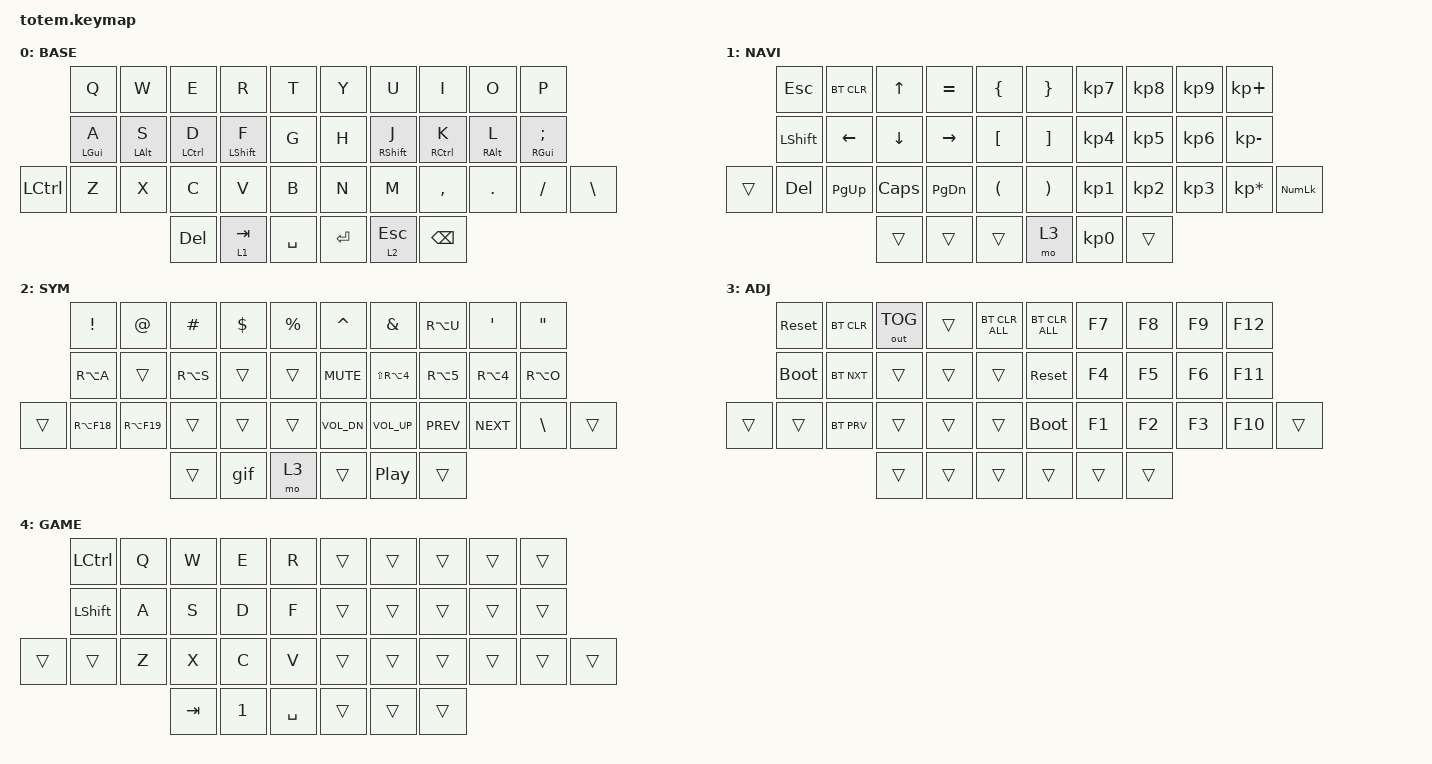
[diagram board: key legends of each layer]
//
//                                                        ▀▀▀▀▀     ▀▀▀▀▀          ▀▀█▀▀
//                                                        ▄▀▀▀▄  ▄  ▄▀▀▀▄  ▄  ▄▀▀▀▄  █  ▄▀▀▀▄
//                                                        █   █  █  █   █  █  █   █  █  █   █
//                                                         ▀▀▀   █   ▀▀▀   █   ▀▀▀   ▀   ▀▀▀
//                                                               █      ▄▄▄█▄▄▄    █   █  
//                                                               ▀      █  █  █     █▄█
//                                                             ▀▀▀▀▀    █  █  █      ▀
//                                                                      ▀  ▀  ▀
//
// ▄▄▄▄▄▄▄▄▄▄▄▄▄▄▄▄▄▄▄▄▄▄▄▄▄▄▄▄▄▄▄▄▄▄▄▄▄▄▄▄▄▄▄▄▄▄▄▄▄▄▄▄▄▄▄▄▄▄▄▄▄▄▄▄▄▄▄▄▄▄▄▄▄▄▄▄▄▄▄▄▄▄▄▄▄▄▄▄▄▄▄▄▄▄▄▄▄▄▄▄▄▄▄▄▄▄▄▄▄▄▄▄▄▄▄▄▄▄▄▄▄▄▄▄▄▄▄▄▄▄▄▄▄▄▄▄▄▄▄▄▄▄▄▄▄▄▄▄▄

#include <behaviors.dtsi>
#include <dt-bindings/zmk/bt.h>
#include <dt-bindings/zmk/keys.h>
#include <dt-bindings/zmk/outputs.h>

#define BASE 0
#define NAV  1
#define SYM  2
#define ADJ  3
#define TVP1 4
#define TVP2 5

&mt {
    quick-tap-ms = <100>;
    global-quick-tap;
    flavor = "tap-preferred";
    tapping-term-ms = <170>;
};

/ {
    combos {
        compatible = "zmk,combos";

        combo_esc {
            timeout-ms = <50>;
            key-positions = <0 1>;
            bindings = <&kp ESC>;
        };

        gaming {
            bindings = <&tog 4>;
            key-positions = <11 12 13>;
        };

        three {
            bindings = <&kp NUMBER_3>;
            key-positions = <33 10>;
            layers = <4>;
        };

        two {
            bindings = <&kp NUMBER_2>;
            key-positions = <33 0>;
            layers = <4>;
        };

        four {
            bindings = <&kp NUMBER_4>;
            key-positions = <33 21>;
            layers = <4>;
        };

        ddd {
            bindings = <&tog 3>;
            key-positions = <12 13 24>;
        };

        clrall {
            bindings = <&bt BT_CLR_ALL>;
            key-positions = <27 28 29>;
        };

        clrall2 {
            bindings = <&bt BT_CLR_ALL>;
            key-positions = <22 23 24>;
        };
    };

    macros {
        gif: gif {
            label = "giphy";
            compatible = "zmk,behavior-macro";
            #binding-cells = <0>;
            bindings =
                <&macro_press>,
                <&kp LSHFT>,
                <&macro_tap>,
                <&kp N2>,
                <&macro_release>,
                <&kp LSHFT>,
                <&macro_tap>,
                <&kp G &kp I &kp F>;
        };
    };

    keymap {
        compatible = "zmk,keymap";

        // ▄▄▄▄▄▄▄▄▄▄▄▄▄▄▄▄▄▄▄▄▄▄▄▄▄▄▄▄▄▄▄▄▄▄▄▄▄▄▄▄▄▄▄▄▄▄▄▄▄▄▄▄▄▄▄▄▄▄▄▄▄▄▄▄▄▄▄▄▄▄▄▄▄▄▄▄▄▄▄▄▄▄▄▄▄▄▄▄▄▄▄▄▄▄▄▄▄▄▄▄▄▄▄▄▄▄▄▄▄▄▄▄▄▄▄▄▄▄▄▄▄▄▄▄▄▄▄▄▄▄▄▄▄▄▄▄▄▄▄▄▄▄▄▄▄▄▄▄▄

        base_layer {
            // ┏━━━━━━━━━━━━━━━━━━━━━━━━━━━━━━━━━━━━━━━┓

            label = "BASE";

            // ┗━━━━━━━━━━━━━━━━━━━━━━━━━━━━━━━━━━━━━━━┛
            //             ┏━━━━━━━━━━━┳━━━━━━━━━━━┳━━━━━━━━━━━┳━━━━━━━━━━━┳━━━━━━━━━━━┓   ┏━━━━━━━━━━━┳━━━━━━━━━━━┳━━━━━━━━━━━┳━━━━━━━━━━━┳━━━━━━━━━━━┓
            //             ┃     Q     ┃     W     ┃     F     ┃     P     ┃     G     ┃   ┃     J     ┃     L     ┃     U     ┃     Y     ┃     ;     ┃
            //             ┣━━━━━━━━━━━╋━━━━━━━━━━━╋━━━━━━━━━━━╋━━━━━━━━━━━╋━━━━━━━━━━━┫   ┣━━━━━━━━━━━╋━━━━━━━━━━━╋━━━━━━━━━━━╋━━━━━━━━━━━╋━━━━━━━━━━━┫
            //             ┃     A     ┃     R     ┃     S     ┃     T     ┃     D     ┃   ┃     H     ┃     N     ┃     E     ┃     I     ┃     O     ┃
            // ┏━━━━━━━━━━━╋━━━━━━━━━━━╋━━━━━━━━━━━╋━━━━━━━━━━━╋━━━━━━━━━━━╋━━━━━━━━━━━┫   ┣━━━━━━━━━━━╋━━━━━━━━━━━╋━━━━━━━━━━━╋━━━━━━━━━━━╋━━━━━━━━━━━╋━━━━━━━━━━━┓
            // ┃     Q     ┃     Z     ┃     X     ┃     C     ┃     V     ┃     B     ┃   ┃     K     ┃     M     ┃     ,     ┃     .     ┃     /     ┃     \     ┃
            // ┗━━━━━━━━━━━┻━━━━━━━━━━━┻━━━━━━━━━━━╋━━━━━━━━━━━╋━━━━━━━━━━━╋━━━━━━━━━━━┫   ┣━━━━━━━━━━━╋━━━━━━━━━━━╋━━━━━━━━━━━╋━━━━━━━━━━━┻━━━━━━━━━━━┻━━━━━━━━━━━┛
            //                                     ┃    DEL    ┃    TAB    ┃    SPC    ┃   ┃   ENTER   ┃           ┃   BSPC    ┃
            //                                     ┗━━━━━━━━━━━┻━━━━━━━━━━━┻━━━━━━━━━━━┛   ┗━━━━━━━━━━━┻━━━━━━━━━━━┻━━━━━━━━━━━┛

            bindings = <
           &kp Q       &kp W       &kp E        &kp R        &kp T        &kp Y    &kp U        &kp I        &kp O       &kp P
           &mt LGUI A  &mt LALT S  &mt LCTRL D  &mt LSHFT F  &kp G        &kp H    &mt RSHFT J  &mt RCTRL K  &mt RALT L  &mt RGUI SEMICOLON
&kp LCTRL  &kp Z       &kp X       &kp C        &kp V        &kp B        &kp N    &kp M        &kp COMMA    &kp DOT     &kp FSLH            &kp BSLH
                                   &kp DEL      &lt 1 TAB    &kp SPACE    &kp RET  &lt 2 ESC    &kp BSPC
            >;
        };

        // ▄▄▄▄▄▄▄▄▄▄▄▄▄▄▄▄▄▄▄▄▄▄▄▄▄▄▄▄▄▄▄▄▄▄▄▄▄▄▄▄▄▄▄▄▄▄▄▄▄▄▄▄▄▄▄▄▄▄▄▄▄▄▄▄▄▄▄▄▄▄▄▄▄▄▄▄▄▄▄▄▄▄▄▄▄▄▄▄▄▄▄▄▄▄▄▄▄▄▄▄▄▄▄▄▄▄▄▄▄▄▄▄▄▄▄▄▄▄▄▄▄▄▄▄▄▄▄▄▄▄▄▄▄▄▄▄▄▄▄▄▄▄▄▄▄▄▄▄▄

        nav_layer {
            // ┏━━━━━━━━━━━━━━━━━━━━━━━━━━━━━━━━━━━━━━━┓

            label = "NAVI";

            // ┗━━━━━━━━━━━━━━━━━━━━━━━━━━━━━━━━━━━━━━━┛
            //             ┏━━━━━━━━━━━┳━━━━━━━━━━━┳━━━━━━━━━━━┳━━━━━━━━━━━┳━━━━━━━━━━━┓   ┏━━━━━━━━━━━┳━━━━━━━━━━━┳━━━━━━━━━━━┳━━━━━━━━━━━┳━━━━━━━━━━━┓
            //             ┃           ┃           ┃     UP    ┃           ┃     {     ┃   ┃     }     ┃     7     ┃     8     ┃     9     ┃     +     ┃
            //             ┣━━━━━━━━━━━╋━━━━━━━━━━━╋━━━━━━━━━━━╋━━━━━━━━━━━╋━━━━━━━━━━━┫   ┣━━━━━━━━━━━╋━━━━━━━━━━━╋━━━━━━━━━━━╋━━━━━━━━━━━╋━━━━━━━━━━━┫
            //             ┃   SHIFT   ┃   LEFT    ┃    DOWN   ┃   RIGHT   ┃     [     ┃   ┃     ]     ┃     4     ┃     5     ┃     6     ┃     -     ┃
            // ┏━━━━━━━━━━━╋━━━━━━━━━━━╋━━━━━━━━━━━╋━━━━━━━━━━━╋━━━━━━━━━━━╋━━━━━━━━━━━┫   ┣━━━━━━━━━━━╋━━━━━━━━━━━╋━━━━━━━━━━━╋━━━━━━━━━━━╋━━━━━━━━━━━╋━━━━━━━━━━━┓
            // ┃           ┃           ┃   P UP    ┃  C LOCK   ┃  P DOWN   ┃     (     ┃   ┃     )     ┃     1     ┃     2     ┃     3     ┃     *     ┃           ┃
            // ┗━━━━━━━━━━━┻━━━━━━━━━━━┻━━━━━━━━━━━╋━━━━━━━━━━━╋━━━━━━━━━━━╋━━━━━━━━━━━┫   ┣━━━━━━━━━━━╋━━━━━━━━━━━╋━━━━━━━━━━━╋━━━━━━━━━━━┻━━━━━━━━━━━┻━━━━━━━━━━━┛
            //                                     ┃           ┃    TAB    ┃    SPC    ┃   ┃    DEL    ┃     0     ┃           ┃
            //                                     ┗━━━━━━━━━━━┻━━━━━━━━━━━┻━━━━━━━━━━━┛   ┗━━━━━━━━━━━┻━━━━━━━━━━━┻━━━━━━━━━━━┛

            bindings = <
        &kp ESC    &bt BT_CLR  &kp UP    &kp EQUAL  &kp LBRC    &kp RBRC  &kp KP_N7  &kp KP_N8  &kp KP_N9  &kp KP_PLUS
        &kp LSHFT  &kp LEFT    &kp DOWN  &kp RIGHT  &kp LBKT    &kp RBKT  &kp KP_N4  &kp KP_N5  &kp KP_N6  &kp KP_MINUS
&trans  &kp DEL    &kp PG_UP   &kp CAPS  &kp PG_DN  &kp LPAR    &kp RPAR  &kp KP_N1  &kp KP_N2  &kp KP_N3  &kp KP_MULTIPLY  &kp KP_NUMLOCK
                               &trans    &trans     &trans      &mo 3     &kp KP_N0  &trans
            >;
        };

        // ▄▄▄▄▄▄▄▄▄▄▄▄▄▄▄▄▄▄▄▄▄▄▄▄▄▄▄▄▄▄▄▄▄▄▄▄▄▄▄▄▄▄▄▄▄▄▄▄▄▄▄▄▄▄▄▄▄▄▄▄▄▄▄▄▄▄▄▄▄▄▄▄▄▄▄▄▄▄▄▄▄▄▄▄▄▄▄▄▄▄▄▄▄▄▄▄▄▄▄▄▄▄▄▄▄▄▄▄▄▄▄▄▄▄▄▄▄▄▄▄▄▄▄▄▄▄▄▄▄▄▄▄▄▄▄▄▄▄▄▄▄▄▄▄▄▄▄▄▄

        sim_layer {
            // ┏━━━━━━━━━━━━━━━━━━━━━━━━━━━━━━━━━━━━━━━┓

            label = "SYM";

            // ┗━━━━━━━━━━━━━━━━━━━━━━━━━━━━━━━━━━━━━━━┛
            //             ┏━━━━━━━━━━━┳━━━━━━━━━━━┳━━━━━━━━━━━┳━━━━━━━━━━━┳━━━━━━━━━━━┓   ┏━━━━━━━━━━━┳━━━━━━━━━━━┳━━━━━━━━━━━┳━━━━━━━━━━━┳━━━━━━━━━━━┓
            //             ┃     !     ┃     @     ┃     #     ┃     $     ┃     %     ┃   ┃     ˆ     ┃     &     ┃     Ü     ┃     '     ┃     "     ┃
            //             ┣━━━━━━━━━━━╋━━━━━━━━━━━╋━━━━━━━━━━━╋━━━━━━━━━━━╋━━━━━━━━━━━┫   ┣━━━━━━━━━━━╋━━━━━━━━━━━╋━━━━━━━━━━━╋━━━━━━━━━━━╋━━━━━━━━━━━┫
            //             ┃     Ä     ┃           ┃    SZ     ┃           ┃           ┃   ┃   MUTE    ┃   YEN     ┃   EURO    ┃  POUND    ┃     Ö     ┃
            // ┏━━━━━━━━━━━╋━━━━━━━━━━━╋━━━━━━━━━━━╋━━━━━━━━━━━╋━━━━━━━━━━━╋━━━━━━━━━━━┫   ┣━━━━━━━━━━━╋━━━━━━━━━━━╋━━━━━━━━━━━╋━━━━━━━━━━━╋━━━━━━━━━━━╋━━━━━━━━━━━┓
            // ┃           ┃  EMAIL1   ┃  EMAIL2   ┃           ┃           ┃           ┃   ┃   VOL-    ┃   VOL+    ┃   LAST    ┃   NEXT    ┃     \     ┃           ┃
            // ┗━━━━━━━━━━━┻━━━━━━━━━━━┻━━━━━━━━━━━╋━━━━━━━━━━━╋━━━━━━━━━━━╋━━━━━━━━━━━┫   ┣━━━━━━━━━━━╋━━━━━━━━━━━╋━━━━━━━━━━━╋━━━━━━━━━━━┻━━━━━━━━━━━┻━━━━━━━━━━━┛
            //                                     ┃           ┃    GIF    ┃    ADJ    ┃   ┃           ┃           ┃           ┃
            //                                     ┗━━━━━━━━━━━┻━━━━━━━━━━━┻━━━━━━━━━━━┛   ┗━━━━━━━━━━━┻━━━━━━━━━━━┻━━━━━━━━━━━┛

            bindings = <
        &kp EXCL     &kp AT       &kp HASH   &kp DLLR  &kp PRCNT    &kp CARET     &kp AMPS        &kp RA(U)   &kp SQT     &kp DQT
        &kp RA(A)    &trans       &kp RA(S)  &trans    &trans       &kp C_MUTE    &kp LS(RA(N4))  &kp RA(N5)  &kp RA(N4)  &kp RA(O)
&trans  &kp RA(F18)  &kp RA(F19)  &trans     &trans    &trans       &kp C_VOL_DN  &kp C_VOL_UP    &kp C_PREV  &kp C_NEXT  &kp BSLH   &trans
                                  &trans     &gif      &mo 3        &trans        &kp C_PP        &trans
            >;
        };

        // ▄▄▄▄▄▄▄▄▄▄▄▄▄▄▄▄▄▄▄▄▄▄▄▄▄▄▄▄▄▄▄▄▄▄▄▄▄▄▄▄▄▄▄▄▄▄▄▄▄▄▄▄▄▄▄▄▄▄▄▄▄▄▄▄▄▄▄▄▄▄▄▄▄▄▄▄▄▄▄▄▄▄▄▄▄▄▄▄▄▄▄▄▄▄▄▄▄▄▄▄▄▄▄▄▄▄▄▄▄▄▄▄▄▄▄▄▄▄▄▄▄▄▄▄▄▄▄▄▄▄▄▄▄▄▄▄▄▄▄▄▄▄▄▄▄▄▄▄▄

        adjust_layer {
            // ┏━━━━━━━━━━━━━━━━━━━━━━━━━━━━━━━━━━━━━━━┓

            label = "ADJ";

            // ┗━━━━━━━━━━━━━━━━━━━━━━━━━━━━━━━━━━━━━━━┛
            //             ┏━━━━━━━━━━━┳━━━━━━━━━━━┳━━━━━━━━━━━┳━━━━━━━━━━━┳━━━━━━━━━━━┓   ┏━━━━━━━━━━━┳━━━━━━━━━━━┳━━━━━━━━━━━┳━━━━━━━━━━━┳━━━━━━━━━━━┓
            //             ┃   RESET   ┃ BT CLEAR  ┃  OUT TOG  ┃           ┃           ┃   ┃           ┃    F7     ┃    F8     ┃    F9     ┃    F12    ┃
            //             ┣━━━━━━━━━━━╋━━━━━━━━━━━╋━━━━━━━━━━━╋━━━━━━━━━━━╋━━━━━━━━━━━┫   ┣━━━━━━━━━━━╋━━━━━━━━━━━╋━━━━━━━━━━━╋━━━━━━━━━━━╋━━━━━━━━━━━┫
            //             ┃ BOOTLOAD  ┃ BT NEXT   ┃           ┃           ┃           ┃   ┃           ┃    F4     ┃    F5     ┃    F6     ┃    F11    ┃
            // ┏━━━━━━━━━━━╋━━━━━━━━━━━╋━━━━━━━━━━━╋━━━━━━━━━━━╋━━━━━━━━━━━╋━━━━━━━━━━━┫   ┣━━━━━━━━━━━╋━━━━━━━━━━━╋━━━━━━━━━━━╋━━━━━━━━━━━╋━━━━━━━━━━━╋━━━━━━━━━━━┓
            // ┃           ┃           ┃ BT PREV   ┃           ┃           ┃           ┃   ┃           ┃    F1     ┃    F2     ┃    F3     ┃    F10    ┃           ┃
            // ┗━━━━━━━━━━━┻━━━━━━━━━━━┻━━━━━━━━━━━╋━━━━━━━━━━━╋━━━━━━━━━━━╋━━━━━━━━━━━┫   ┣━━━━━━━━━━━╋━━━━━━━━━━━╋━━━━━━━━━━━╋━━━━━━━━━━━┻━━━━━━━━━━━┻━━━━━━━━━━━┛
            //                                     ┃           ┃           ┃           ┃   ┃           ┃           ┃           ┃
            //                                     ┗━━━━━━━━━━━┻━━━━━━━━━━━┻━━━━━━━━━━━┛   ┗━━━━━━━━━━━┻━━━━━━━━━━━┻━━━━━━━━━━━┛

            bindings = <
        &sys_reset   &bt BT_CLR  &out OUT_TOG  &trans  &bt BT_CLR_ALL    &bt BT_CLR_ALL  &kp F7  &kp F8  &kp F9  &kp F12
        &bootloader  &bt BT_NXT  &trans        &trans  &trans            &sys_reset      &kp F4  &kp F5  &kp F6  &kp F11
&trans  &trans       &bt BT_PRV  &trans        &trans  &trans            &bootloader     &kp F1  &kp F2  &kp F3  &kp F10  &trans
                                 &trans        &trans  &trans            &trans          &trans  &trans
            >;
        };

        // ▄▄▄▄▄▄▄▄▄▄▄▄▄▄▄▄▄▄▄▄▄▄▄▄▄▄▄▄▄▄▄▄▄▄▄▄▄▄▄▄▄▄▄▄▄▄▄▄▄▄▄▄▄▄▄▄▄▄▄▄▄▄▄▄▄▄▄▄▄▄▄▄▄▄▄▄▄▄▄▄▄▄▄▄▄▄▄▄▄▄▄▄▄▄▄▄▄▄▄▄▄▄▄▄▄▄▄▄▄▄▄▄▄▄▄▄▄▄▄▄▄▄▄▄▄▄▄▄▄▄▄▄▄▄▄▄▄▄▄▄▄▄▄▄▄▄▄▄▄
        // ▄▄▄▄▄▄▄▄▄▄▄▄▄▄▄▄▄▄▄▄▄▄▄▄▄▄▄▄▄▄▄▄▄▄▄▄▄▄▄▄▄▄▄▄▄▄▄▄▄▄▄▄▄▄▄▄▄▄▄▄▄▄▄▄▄▄▄▄▄▄▄▄▄▄▄▄▄▄▄▄▄▄▄▄▄▄▄▄▄▄▄▄▄▄▄▄▄▄▄▄▄▄▄▄▄▄▄▄▄▄▄▄▄▄▄▄▄▄▄▄▄▄▄▄▄▄▄▄▄▄▄▄▄▄▄▄▄▄▄▄▄▄▄▄▄▄▄▄▄

        GAME {
            bindings = <
        &kp LCTRL  &kp Q  &kp W    &kp E         &kp R        &trans  &trans  &trans  &trans  &trans
        &kp LSHFT  &kp A  &kp S    &kp D         &kp F        &trans  &trans  &trans  &trans  &trans
&trans  &trans     &kp Z  &kp X    &kp C         &kp V        &trans  &trans  &trans  &trans  &trans  &trans
                          &kp TAB  &kp NUMBER_1  &kp SPACE    &trans  &trans  &trans
            >;
        };
    };
};
